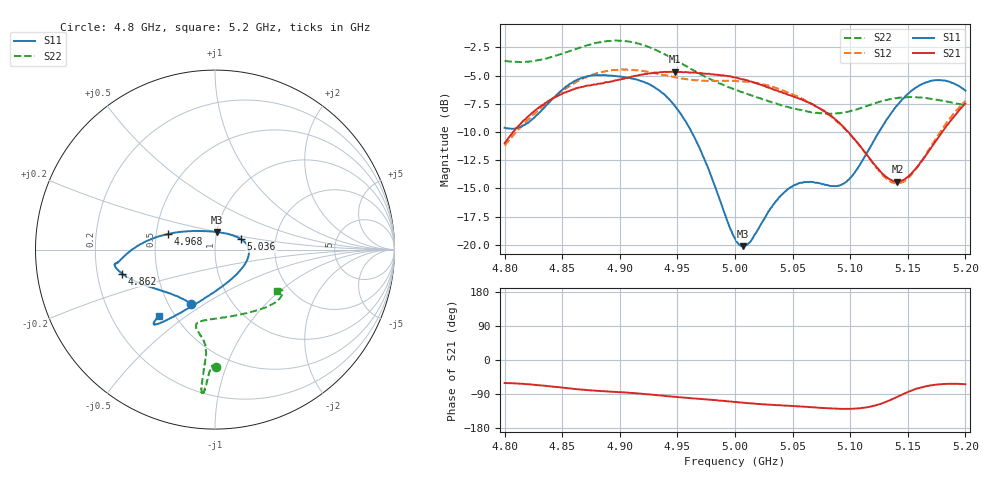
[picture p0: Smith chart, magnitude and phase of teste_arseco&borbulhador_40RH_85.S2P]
! Network Analyzer HP8722D
! Hewlett-Packard
! Data name: Linha & Wilkinson
! Saver's name: Rodrigo Anjos
! Comments: Teste da utilização de aquisição
! continua pelo VNA HP8722D
! Time and date: 15/4/2025 17:03
!  Frequency  S11  S21  S12  S22
# HZ  S  MA R 50
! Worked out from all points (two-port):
!   401 points, 4.8 GHz to 5.2 GHz, reference 50 ohm
!   highest |S21| = -4.64 dB at 4.948 GHz (marker M1); lowest = -14.4 dB at 5.141 GHz (marker M2)
!   |S21| within 3 dB of the highest: 4.832 GHz to 5.069 GHz (237 MHz wide, 4.79 % of centre); 5.198369 GHz to end of sweep
!   lowest |S11| = -20.1 dB at 5.007 GHz (marker M3), VSWR 1.22, Z = 50.1 + j9.93 ohm
!   |S11| at or under -10 dB: 4.962 GHz to 5.125 GHz (162.6 MHz wide, 3.22 % of centre)
!   |S22| runs from -8.4 to -1.9 dB; largest |S21 - S12| = 0.88
!   S11 on the Smith chart (normalised r, x): 4.8 GHz: 0.65, -0.44; 4.862 GHz: 0.31, -0.12; 4.968 GHz: 0.58, +0.11; 5.036 GHz: 1.33, +0.16; 5.2 GHz: 0.41, -0.40
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4.8e9  0.3305 -113.7  0.2824 -60.8  0.2754 -175.1  0.6548 -89.4
4.819e9  0.3448 -133.5  0.3647 -63.6  0.3528 -173.3  0.6491 -91.2
4.862e9  0.5361 -165.6  0.4951 -76.6  0.5267 -176.3  0.7397 -93.5
4.867e9  0.5495 -167.6  0.5012 -78.2  0.5424 -177.3  0.7543 -93.7
4.898e9  0.5587 -172.0  0.5375 -84.4  0.5945 176.2  0.8036 -95.0
4.934e9  0.4846 -177.9  0.5807 -93.3  0.574 172.2  0.7193 -95.6
4.948e9  0.4111 175.5  0.5859 -97.3  0.5535 172.1  0.66 -95.2
4.968e9  0.2771 161.7  0.5766 -102.4  0.5369 174.2  0.5776 -94.9
5e9  0.1067 107.1  0.5517 -110.9  0.5339 176.6  0.487 -99.2
5.007e9  0.0987 83.6  0.5422 -112.6  0.5297 176.5  0.4733 -100.9
5.014e9  0.1045 61.3  0.5294 -114.7  0.5261 176.1  0.4599 -102.5
5.036e9  0.1571 21.6  0.4835 -119.0  0.4944 175.2  0.423 -103.7
5.05e9  0.182 7.0  0.4562 -121.3  0.4646 174.4  0.4047 -100.4
5.067e9  0.19 -11.3  0.4203 -124.8  0.4215 174.0  0.3874 -91.9
5.087e9  0.1819 -43.9  0.3601 -128.5  0.3573 173.8  0.3824 -76.8
5.097e9  0.191 -65.0  0.3207 -129.0  0.3206 174.5  0.388 -68.5
5.134e9  0.373 -116.0  0.1956 -106.8  0.1918 -159.6  0.4417 -43.4
5.141e9  0.4165 -119.9  0.1906 -97.0  0.1872 -148.7  0.4479 -40.2
5.154e9  0.4862 -125.1  0.2096 -79.8  0.2074 -128.8  0.4517 -35.6
5.17e9  0.5324 -128.5  0.2679 -66.9  0.2727 -112.9  0.4442 -32.1
5.184e9  0.5317 -129.9  0.3389 -63.1  0.3495 -107.1  0.4313 -31.1
5.2e9  0.4826 -130.3  0.4229 -64.1  0.4346 -106.0  0.4156 -33.4
